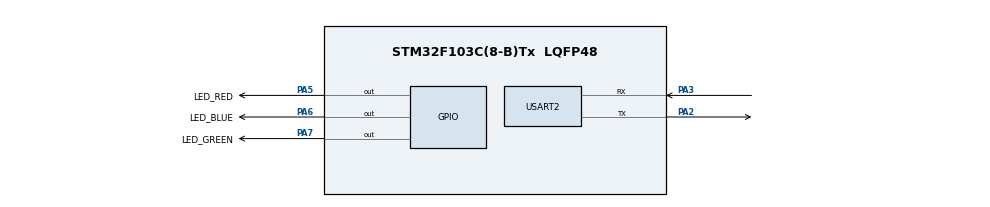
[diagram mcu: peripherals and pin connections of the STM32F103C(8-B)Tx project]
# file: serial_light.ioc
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Mcu.Family=STM32F1
Mcu.Name=STM32F103C(8-B)Tx
Mcu.Package=LQFP48
NVIC.PriorityGroup=NVIC_PRIORITYGROUP_4
PA13.Mode=Serial_Wire
PA13.Signal=SYS_JTMS-SWDIO
PA14.Mode=Serial_Wire
PA14.Signal=SYS_JTCK-SWCLK
PA2.Mode=Asynchronous
PA2.Signal=USART2_TX
PA3.Mode=Asynchronous
PA3.Signal=USART2_RX
PA5.GPIO_Label=LED_RED
PA5.PinState=GPIO_PIN_RESET
PA5.Signal=GPIO_Output
PA6.GPIO_Label=LED_BLUE
PA6.PinState=GPIO_PIN_RESET
PA6.Signal=GPIO_Output
PA7.GPIO_Label=LED_GREEN
PA7.PinState=GPIO_PIN_RESET
PA7.Signal=GPIO_Output
ProjectManager.HeapSize=0x200
ProjectManager.StackSize=0x400
ProjectManager.TargetToolchain=MDK-ARM V5.32
RCC.APB1Freq_Value=8000000
RCC.APB2Freq_Value=8000000
USART2.VirtualMode=VM_ASYNC
board=custom

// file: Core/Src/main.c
/* USER CODE BEGIN Header */
/**
  ******************************************************************************
  * @file           : main.c
  * @brief          : Main program body
  ******************************************************************************
  * @attention
  *
  * Copyright (c) 2026 STMicroelectronics.
  * All rights reserved.
  *
  * This software is licensed under terms that can be found in the LICENSE file
  * in the root directory of this software component.
  * If no LICENSE file comes with this software, it is provided AS-IS.
  *
  ******************************************************************************
  */
/* USER CODE END Header */
#include "main.h"

/* USER CODE BEGIN Includes */
#include <string.h>
/* USER CODE END Includes */

UART_HandleTypeDef huart2;

void SystemClock_Config(void);
static void MX_GPIO_Init(void);
static void MX_USART2_UART_Init(void);

/* USER CODE BEGIN 0 */
uint8_t rx_data [2];
/* USER CODE END 0 */

int main(void)
{

  /* MCU Configuration--------------------------------------------------------*/

  /* Reset of all peripherals, Initializes the Flash interface and the Systick. */
  HAL_Init();

  /* Configure the system clock */
  SystemClock_Config();

  /* Initialize all configured peripherals */
  MX_GPIO_Init();
  MX_USART2_UART_Init();

  /* Infinite loop */
  /* USER CODE BEGIN WHILE */
  while (1)
  {
		HAL_UART_Receive(&huart2,rx_data,2,HAL_MAX_DELAY);
		HAL_UART_Transmit(&huart2,rx_data,2,100);
		GPIO_PinState state = GPIO_PIN_RESET;
		if (rx_data[1] == '1') {
			state = GPIO_PIN_SET;
		}
		switch (rx_data[0]) {
			case 'R':
				HAL_GPIO_WritePin(LED_RED_GPIO_Port,LED_RED_Pin,state);
				break;
			case 'B':
				HAL_GPIO_WritePin(LED_BLUE_GPIO_Port,LED_BLUE_Pin,state);
				break;
			case 'G':
				HAL_GPIO_WritePin(LED_GREEN_GPIO_Port,LED_GREEN_Pin,state);
				break;
		}

    /* USER CODE END WHILE */

  }
}

void SystemClock_Config(void)
{
  RCC_OscInitTypeDef RCC_OscInitStruct = {0};
  RCC_ClkInitTypeDef RCC_ClkInitStruct = {0};

  /** Initializes the RCC Oscillators according to the specified parameters
  * in the RCC_OscInitTypeDef structure.
  */
  RCC_OscInitStruct.OscillatorType = RCC_OSCILLATORTYPE_HSI;
  RCC_OscInitStruct.HSIState = RCC_HSI_ON;
  RCC_OscInitStruct.HSICalibrationValue = RCC_HSICALIBRATION_DEFAULT;
  RCC_OscInitStruct.PLL.PLLState = RCC_PLL_NONE;
  if (HAL_RCC_OscConfig(&RCC_OscInitStruct) != HAL_OK)
  {
    Error_Handler();
  }

  /** Initializes the CPU, AHB and APB buses clocks
  */
  RCC_ClkInitStruct.ClockType = RCC_CLOCKTYPE_HCLK|RCC_CLOCKTYPE_SYSCLK
                              |RCC_CLOCKTYPE_PCLK1|RCC_CLOCKTYPE_PCLK2;
  RCC_ClkInitStruct.SYSCLKSource = RCC_SYSCLKSOURCE_HSI;
  RCC_ClkInitStruct.AHBCLKDivider = RCC_SYSCLK_DIV1;
  RCC_ClkInitStruct.APB1CLKDivider = RCC_HCLK_DIV1;
  RCC_ClkInitStruct.APB2CLKDivider = RCC_HCLK_DIV1;

  if (HAL_RCC_ClockConfig(&RCC_ClkInitStruct, FLASH_LATENCY_0) != HAL_OK)
  {
    Error_Handler();
  }
}

static void MX_USART2_UART_Init(void)
{

  huart2.Instance = USART2;
  huart2.Init.BaudRate = 115200;
  huart2.Init.WordLength = UART_WORDLENGTH_8B;
  huart2.Init.StopBits = UART_STOPBITS_1;
  huart2.Init.Parity = UART_PARITY_NONE;
  huart2.Init.Mode = UART_MODE_TX_RX;
  huart2.Init.HwFlowCtl = UART_HWCONTROL_NONE;
  huart2.Init.OverSampling = UART_OVERSAMPLING_16;
  if (HAL_UART_Init(&huart2) != HAL_OK)
  {
    Error_Handler();
  }

}

static void MX_GPIO_Init(void)
{
  GPIO_InitTypeDef GPIO_InitStruct = {0};

  /* GPIO Ports Clock Enable */
  __HAL_RCC_GPIOA_CLK_ENABLE();

  /*Configure GPIO pin Output Level */
  HAL_GPIO_WritePin(GPIOA, LED_RED_Pin|LED_BLUE_Pin|LED_GREEN_Pin, GPIO_PIN_RESET);

  /*Configure GPIO pins : LED_RED_Pin LED_BLUE_Pin LED_GREEN_Pin */
  GPIO_InitStruct.Pin = LED_RED_Pin|LED_BLUE_Pin|LED_GREEN_Pin;
  GPIO_InitStruct.Mode = GPIO_MODE_OUTPUT_PP;
  GPIO_InitStruct.Pull = GPIO_NOPULL;
  GPIO_InitStruct.Speed = GPIO_SPEED_FREQ_LOW;
  HAL_GPIO_Init(GPIOA, &GPIO_InitStruct);

}

void Error_Handler(void)
{
  __disable_irq();
  while (1)
  {
  }
}
